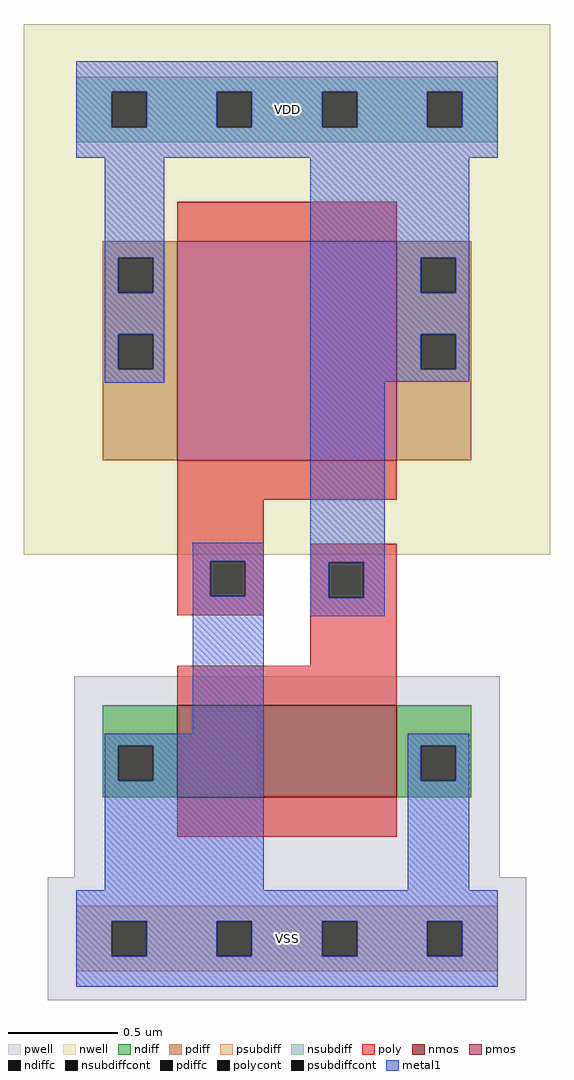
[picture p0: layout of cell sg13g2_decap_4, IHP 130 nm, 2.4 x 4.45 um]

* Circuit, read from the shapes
.subckt sg13g2_decap_4 VDD VSS
XM1 VSS VDD VSS VSS sg13_lv_nmos w=0.42u l=1u
XM2 VDD VSS VDD VDD sg13_lv_pmos w=1u l=1u
.ends

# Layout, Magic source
magic
tech ihp-sg13g2
magscale 1 2
<< nwell >>
rect -48 350 432 834
<< pwell >>
rect -2 56 386 239
rect -26 -56 410 56
<< nmos >>
rect 92 129 292 213
<< pmos >>
rect 92 436 292 636
<< ndiff >>
rect 24 176 92 213
rect 24 144 38 176
rect 70 144 92 176
rect 24 129 92 144
rect 292 176 360 213
rect 292 144 314 176
rect 346 144 360 176
rect 292 129 360 144
<< pdiff >>
rect 24 621 92 636
rect 24 589 38 621
rect 70 589 92 621
rect 24 551 92 589
rect 24 519 38 551
rect 70 519 92 551
rect 24 436 92 519
rect 292 621 360 636
rect 292 589 314 621
rect 346 589 360 621
rect 292 551 360 589
rect 292 519 314 551
rect 346 519 360 551
rect 292 436 360 519
<< ndiffc >>
rect 38 144 70 176
rect 314 144 346 176
<< pdiffc >>
rect 38 589 70 621
rect 38 519 70 551
rect 314 589 346 621
rect 314 519 346 551
<< psubdiff >>
rect 0 16 384 30
rect 0 -16 32 16
rect 64 -16 128 16
rect 160 -16 224 16
rect 256 -16 320 16
rect 352 -16 384 16
rect 0 -30 384 -16
<< nsubdiff >>
rect 0 772 384 786
rect 0 740 32 772
rect 64 740 128 772
rect 160 740 224 772
rect 256 740 320 772
rect 352 740 384 772
rect 0 726 384 740
<< psubdiffcont >>
rect 32 -16 64 16
rect 128 -16 160 16
rect 224 -16 256 16
rect 320 -16 352 16
<< nsubdiffcont >>
rect 32 740 64 772
rect 128 740 160 772
rect 224 740 256 772
rect 320 740 352 772
<< poly >>
rect 92 636 292 672
rect 92 400 292 436
rect 92 344 171 400
rect 92 312 122 344
rect 154 312 171 344
rect 92 295 171 312
rect 213 343 292 360
rect 213 311 230 343
rect 262 311 292 343
rect 213 249 292 311
rect 92 213 292 249
rect 92 93 292 129
<< polycont >>
rect 122 312 154 344
rect 230 311 262 343
<< metal1 >>
rect 0 772 384 800
rect 0 740 32 772
rect 64 740 128 772
rect 160 740 224 772
rect 256 740 320 772
rect 352 740 384 772
rect 0 712 384 740
rect 26 621 80 712
rect 26 589 38 621
rect 70 589 80 621
rect 26 551 80 589
rect 26 519 38 551
rect 70 519 80 551
rect 26 507 80 519
rect 213 621 358 712
rect 213 589 314 621
rect 346 589 358 621
rect 213 551 358 589
rect 213 519 314 551
rect 346 519 358 551
rect 213 508 358 519
rect 106 344 171 361
rect 106 312 122 344
rect 154 312 171 344
rect 106 187 171 312
rect 213 343 281 508
rect 213 311 230 343
rect 262 311 281 343
rect 213 294 281 311
rect 26 176 171 187
rect 26 144 38 176
rect 70 144 171 176
rect 26 44 171 144
rect 302 176 358 187
rect 302 144 314 176
rect 346 144 358 176
rect 302 44 358 144
rect 0 16 384 44
rect 0 -16 32 16
rect 64 -16 128 16
rect 160 -16 224 16
rect 256 -16 320 16
rect 352 -16 384 16
rect 0 -44 384 -16
<< labels >>
flabel metal1 s 0 712 384 800 0 FreeSans 400 0 0 0 VDD
port 1 nsew
flabel metal1 s 0 -44 384 44 0 FreeSans 400 0 0 0 VSS
port 2 nsew
<< properties >>
string FIXED_BBOX 0 0 384 756
string GDS_END 5784
string GDS_FILE ../gds/controller.gds
string GDS_START 3516
<< end >>
